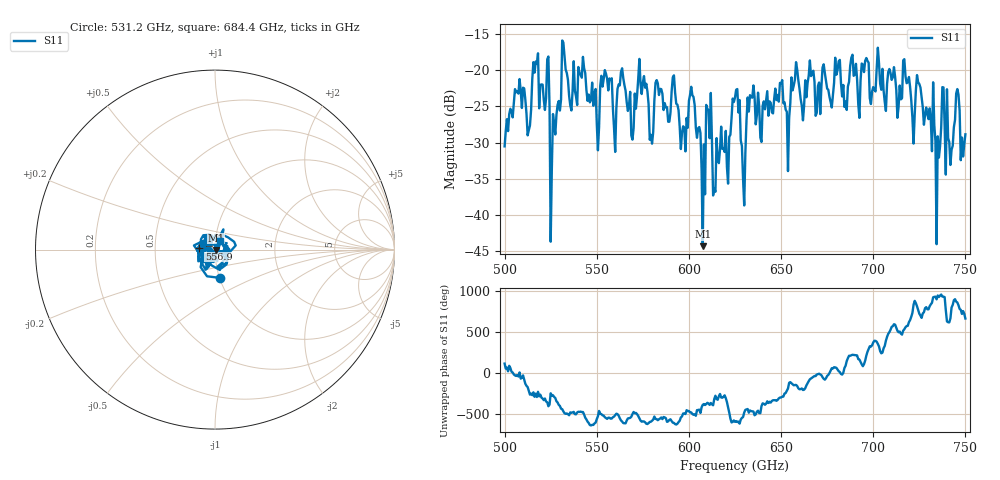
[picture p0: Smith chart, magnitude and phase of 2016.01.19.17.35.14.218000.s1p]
!Created with skrf (http://scikit-rf.org).
# GHz S RI R 50.0
!freq ReS11 ImS11
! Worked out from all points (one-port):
!   401 points, 500 GHz to 750 GHz, reference 50 ohm
!   lowest |S11| = -44.3 dB at 607.5 GHz (marker M1), VSWR 1.01, Z = 50.5 - j0.282 ohm
!   |S11| at or under -10 dB: start of sweep to end of sweep
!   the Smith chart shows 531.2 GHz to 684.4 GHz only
!   S11 on the Smith chart (normalised r, x): 531.2 GHz: 1.01, -0.33; 556.9 GHz: 0.84, +0.01; 684.4 GHz: 1.05, +0.10
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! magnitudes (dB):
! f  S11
! 500 GHz  -30.5
! 506.9 GHz  -22.9
! 513.1 GHz  -28.3
! 516.9 GHz  -18.8
! 523.1 GHz  -18.5
! 526.2 GHz  -26.1
! 531.2 GHz  -15.9
! 550 GHz  -27.3
! 556.9 GHz  -21.1
! 560 GHz  -31.3
! 562.5 GHz  -22.1
! 579.4 GHz  -28.9
! 583.1 GHz  -21.8
! 593.8 GHz  -24.8
! 601.9 GHz  -23.5
! 607.5 GHz  -44.3
! 610.6 GHz  -25.5
! 614.4 GHz  -36.8
! 625 GHz  -23.8
! 629.4 GHz  -35.0
! 634.4 GHz  -23.8
! 656.2 GHz  -22.8
! 684.4 GHz  -25.1
! 687.5 GHz  -19.4
! 718.8 GHz  -21.7
! 735 GHz  -29.1
! 745.6 GHz  -22.6
! 750 GHz  -28.9
